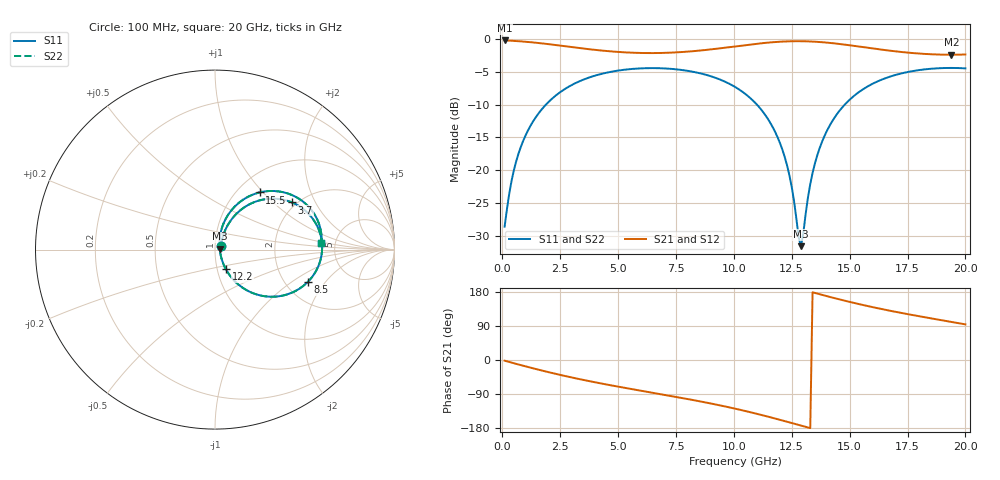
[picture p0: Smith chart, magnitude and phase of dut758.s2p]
! Touchstone file exported from HFSS 2026.1.0
!  File:  C:/ffzhzh/LocalFiles/Ansys_Project_Files/temp_train_TSV_RDL_758_1783206968_51560.aedt
!  Generated:  07:28:41 AM Jul  5, 2026
!  Design:  TSV_RDL
!  Project:  temp_train_TSV_RDL_758_1783206968_51560
! Variables:
!  h_bsmrdl = 2.15um
!  h_ox = 20um
!  h_rdl = 5um
!  h_sub = 58.03um
!  h_tmrdl = 2.4um
!  h_tsv = 58.03um
!  h_via = 3um
!  l_bsmrdl = 531.51um
!  l_sub = 4635.18um
!  l_tmrdl = 625.67um
!  m_sub = 200um
!  pitch = 55.61um
!  r_tsv = 9.66um
!  s_tmrdl = 10um
!  w_bsmrdl = 29.85um
!  w_sub = 500um
!  w_tmrdl = 16.14um
!  x_tsv_center1 = 633.74um
!  x_tsv_center2 = 1195.1um
!  x_tsv_center3 = 1836.91um
!  x_tsv_center4 = 2398.27um
!  x_tsv_center5 = 3040.08um
!  x_tsv_center6 = 3601.44um
# GHz S MA R 50.000000
! Terminal data exported
! Port[1] = TM_RDL1_1_T1
! Port[2] = TM_RDL5_1_T1
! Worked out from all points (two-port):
!   200 points, 100 MHz to 20 GHz, reference 50 ohm
!   highest |S21| = -0.28 dB at 100 MHz (marker M1); lowest = -2.4 dB at 19.4 GHz (marker M2)
!   |S21| within 3 dB of the highest: start of sweep to end of sweep
!   lowest |S11| = -31.5 dB at 12.9 GHz (marker M3), VSWR 1.05, Z = 52.7 + j0.488 ohm
!   |S11| at or under -10 dB: start of sweep to 1.89 GHz; 10.99 GHz to 14.79 GHz (3.804 GHz wide, 29.5 % of centre)
!   |S22| runs from -31.6 to -4.5 dB; largest |S21 - S12| = 1.7e-14
!   S11 on the Smith chart (normalised r, x): 100 MHz: 1.07, +0.04; 3.7 GHz: 1.89, +1.33; 8.5 GHz: 2.64, -1.36; 12.2 GHz: 1.10, -0.25; 15.5 GHz: 1.26, +0.96; 20 GHz: 3.88, +0.44
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0.1  0.03743 29.8  0.9679 -1.8  0.9679 -1.8  0.03743 29.8
! Gamma 0 0 0 0
! Port Impedance 50 0 50 0
0.5  0.1003 61.1  0.9607 -8.6  0.9607 -8.6  0.1003 61.1
1.2  0.2153 60.1  0.9398 -19.9  0.9398 -19.9  0.2153 60.1
2.2  0.3565 49.1  0.8984 -35.1  0.8984 -35.1  0.3565 49.1
3.5  0.4881 33.7  0.8404 -52.6  0.8404 -52.6  0.4881 33.7
3.7  0.5032 31.4  0.8324 -55.1  0.8324 -55.1  0.5032 31.4
5.3  0.5812 14.2  0.7861 -73.6  0.7861 -73.6  0.5812 14.1
6.8  0.5959 -1.2  0.7775 -89.8  0.7775 -89.8  0.5959 -1.2
8.5  0.5477 -19.2  0.8103 -108.7  0.8103 -108.7  0.5477 -19.2
10.1  0.4249 -38.1  0.8742 -129.0  0.8742 -129.0  0.4249 -38.1
11.4  0.2566 -54.5  0.9294 -148.3  0.9294 -148.3  0.2566 -54.6
12.2  0.126 -60.9  0.9508 -161.3  0.9508 -161.3  0.1259 -61.1
12.5  0.07488 -57.2  0.9546 -166.3  0.9546 -166.3  0.0748 -57.4
12.8  0.03099 -23.9  0.9556 -171.3  0.9556 -171.3  0.03072 -24.3
12.9  0.02663 10.0  0.9553 -173.0  0.9553 -173.0  0.0263 10.0
13.4  0.09562 71.2  0.9493 178.6  0.9493 178.6  0.09551 71.4
13.7  0.1466 72.0  0.9422 173.6  0.9422 173.6  0.1465 72.2
14.2  0.2284 67.9  0.9255 165.6  0.9255 165.6  0.2283 68.0
15.5  0.404 52.0  0.8658 146.2  0.8658 146.2  0.404 52.1
16.7  0.5117 37.7  0.8111 130.5  0.8111 130.5  0.5117 37.7
19.4  0.599 9.5  0.7544 100.4  0.7544 100.4  0.599 9.5
20  0.5943 3.5  0.7576 94.0  0.7576 94.0  0.5943 3.5
